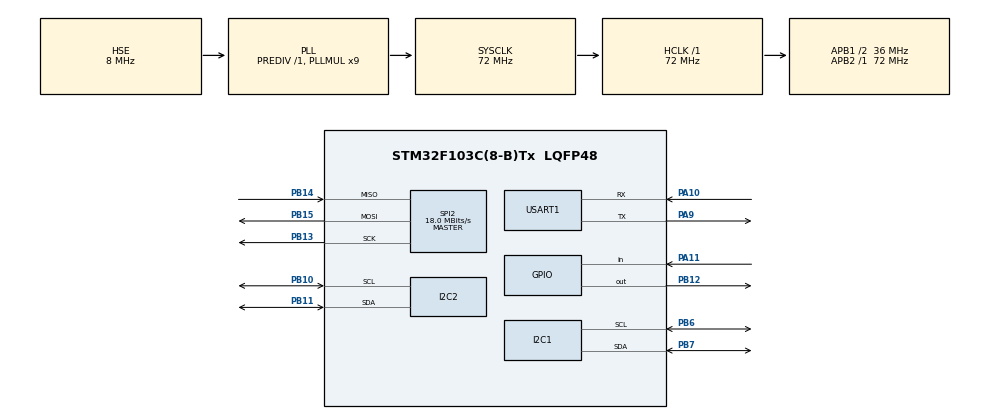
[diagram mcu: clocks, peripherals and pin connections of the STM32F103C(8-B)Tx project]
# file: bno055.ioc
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FATFS._MAX_SS=4096
FATFS._USE_LFN=1
Mcu.Family=STM32F1
Mcu.Name=STM32F103C(8-B)Tx
Mcu.Package=LQFP48
NVIC.PriorityGroup=NVIC_PRIORITYGROUP_4
PA10.Mode=Asynchronous
PA10.Signal=USART1_RX
PA11.Signal=GPIO_Input
PA9.Mode=Asynchronous
PA9.Signal=USART1_TX
PB10.Mode=I2C
PB10.Signal=I2C2_SCL
PB11.Mode=I2C
PB11.Signal=I2C2_SDA
PB12.Signal=GPIO_Output
PB13.Mode=Full_Duplex_Master
PB13.Signal=SPI2_SCK
PB14.Mode=Full_Duplex_Master
PB14.Signal=SPI2_MISO
PB15.Mode=Full_Duplex_Master
PB15.Signal=SPI2_MOSI
PB6.Mode=I2C
PB6.Signal=I2C1_SCL
PB7.Mode=I2C
PB7.Signal=I2C1_SDA
PD0-OSC_IN.Mode=HSE-External-Oscillator
PD0-OSC_IN.Signal=RCC_OSC_IN
PD1-OSC_OUT.Mode=HSE-External-Oscillator
PD1-OSC_OUT.Signal=RCC_OSC_OUT
ProjectManager.HeapSize=0x200
ProjectManager.StackSize=0x400
ProjectManager.TargetToolchain=STM32CubeIDE
RCC.AHBFreq_Value=72000000
RCC.APB1CLKDivider=RCC_HCLK_DIV2
RCC.APB1Freq_Value=36000000
RCC.APB1TimFreq_Value=72000000
RCC.APB2Freq_Value=72000000
RCC.APB2TimFreq_Value=72000000
RCC.HCLKFreq_Value=72000000
RCC.PLLMUL=RCC_PLL_MUL9
RCC.PLLSourceVirtual=RCC_PLLSOURCE_HSE
RCC.SYSCLKFreq_VALUE=72000000
RCC.SYSCLKSource=RCC_SYSCLKSOURCE_PLLCLK
RCC.USBFreq_Value=72000000
SPI2.CalculateBaudRate=18.0 MBits/s
SPI2.Direction=SPI_DIRECTION_2LINES
SPI2.Mode=SPI_MODE_MASTER
SPI2.VirtualType=VM_MASTER
USART1.VirtualMode=VM_ASYNC
VP_FATFS_VS_Generic.Mode=User_defined
board=custom

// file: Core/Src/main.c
/* USER CODE BEGIN Header */
/**
  ******************************************************************************
  * @file           : main.c
  * @brief          : Main program body
  ******************************************************************************
  * @attention
  *
  * Copyright (c) 2023 STMicroelectronics.
  * All rights reserved.
  *
  * This software is licensed under terms that can be found in the LICENSE file
  * in the root directory of this software component.
  * If no LICENSE file comes with this software, it is provided AS-IS.
  *
  * LIBRARY REPO SOURCE: https://github.com/ivyknob/bno055_stm32
  *
  ******************************************************************************
  */
/* USER CODE END Header */
#include "main.h"
#include "fatfs.h"

/* USER CODE BEGIN Includes */
#include "bno055_stm32.h"
#include <stdio.h>
#include <string.h>
#include <math.h>
/* USER CODE END Includes */

I2C_HandleTypeDef hi2c1;
I2C_HandleTypeDef hi2c2;

SPI_HandleTypeDef hspi2;

UART_HandleTypeDef huart1;

/* USER CODE BEGIN PV */
FATFS fs;
FIL fil;

/* USER CODE END PV */

void SystemClock_Config(void);
static void MX_GPIO_Init(void);
static void MX_I2C1_Init(void);
static void MX_USART1_UART_Init(void);
static void MX_SPI2_Init(void);
static void MX_I2C2_Init(void);

int main(void)
{
  /* USER CODE BEGIN 1 */
	uint8_t message1[966] = {'\0'};
	uint8_t message2[966] = {'\0'};
	uint8_t message3[966] = {'\0'};
	uint8_t message4[966] = {'\0'};
	char string[966] = {'\0'};

  /* USER CODE END 1 */

  /* MCU Configuration--------------------------------------------------------*/

  /* Reset of all peripherals, Initializes the Flash interface and the Systick. */
  HAL_Init();

  /* Configure the system clock */
  SystemClock_Config();

  /* Initialize all configured peripherals */
  MX_GPIO_Init();
  MX_I2C1_Init();
  MX_USART1_UART_Init();
  MX_SPI2_Init();
  MX_FATFS_Init();
  MX_I2C2_Init();
  /* USER CODE BEGIN 2 */
  bno055_assignI2C(&hi2c1);
  bno055_setup();
  bno055_setOperationModeNDOF();

  // Initial Calibration
  /*
  HAL_Delay(100);

  //Currently all cal states are 0...
  bno055_calibration_data_t calData = bno055_getCalibrationData();
  bno055_setCalibrationData(calData);

  while (1) { // Check if calibration is complete

      calState = bno055_getCalibrationState();
	  sprintf((char*)message1,"%.2d,%.2d,%.2d,%.2d\r\n", calState.sys, calState.gyro, calState.mag, calState.accel);
	  HAL_UART_Transmit(&huart1, message1, sizeof(message1), 100);

      if (calState.sys == 3 && calState.gyro == 3 && calState.accel == 3 && calState.mag == 3) {
          // Calibration is complete
          HAL_UART_Transmit(&huart1, (uint8_t *)"Calibration complete!\r\n", 30, HAL_MAX_DELAY);
          break;  // Exit calibration loop
      }
  }

  bno055_setOperationModeNDOF(); // set in work mode again
  */

  // Initializing a new origin based on object's current location
  HAL_Delay(100);
  bno055_vector_t offset = bno055_getVectorQuaternion();
  bno055_vector_t offset_conj = quaternion_conjugate(offset);
  bno055_vector_t offset_norm = quaternion_normalize(offset_conj);

  /* USER CODE END 2 */

  /* Infinite loop */
  /* USER CODE BEGIN WHILE */
  while (1)
  {
      if(HAL_GPIO_ReadPin (GPIOA, GPIO_PIN_11)){

          HAL_Delay(500); // Delay for button debouncing

          offset = bno055_getVectorQuaternion();
          offset_conj = quaternion_conjugate(offset);
          offset_norm = quaternion_normalize(offset_conj);
      }

	  bno055_vector_t v = quaternion_multiply(offset_norm, bno055_getVectorQuaternion());
	  //v = quaternion_to_euler(v);
	  //sprintf((char*)message2,"pitch = %.2f\r\n", v.x);
	  sprintf((char*)message2,"%.2f,%.2f,%.2f,%.2f\r\n", v.w, v.x, v.y, v.z);
	  HAL_UART_Transmit(&huart1, message2, sizeof(message2), 100);

      /*bno055_vector_t v = bno055_getVectorLinearAccel();
	  sprintf((char*)message3, "%.2f %.2f %.2f\r\n", v.x, v.y, v.z);
	  HAL_UART_Transmit(&huart1, message3, sizeof(message3), 100);*/

	  /*bno055_vector_t v = bno055_getVectorGyroscope();
	  sprintf((char*)message4, "%.2f %.2f %.2f\r\n", v.x, v.y, v.z);
	  HAL_UART_Transmit(&huart1, message4, sizeof(message4), 100);*/

	  HAL_Delay(100);

	  /*
	  // Saving quaternions to microSD card
	  sprintf(string,"W: %.2f X: %.2f Y: %.2f Z: %.2f\n", v.w, v.x, v.y, v.z);
	  f_mount(&fs, "", 0);
	  f_open(&fil, "bno055.txt", FA_OPEN_ALWAYS | FA_WRITE | FA_READ);
	  f_lseek(&fil, fil.fsize);
	  f_puts(string, &fil);
	  f_close(&fil);
	  */

    /* USER CODE END WHILE */

  }
}

void SystemClock_Config(void)
{
  RCC_OscInitTypeDef RCC_OscInitStruct = {0};
  RCC_ClkInitTypeDef RCC_ClkInitStruct = {0};

  /** Initializes the RCC Oscillators according to the specified parameters
  * in the RCC_OscInitTypeDef structure.
  */
  RCC_OscInitStruct.OscillatorType = RCC_OSCILLATORTYPE_HSE;
  RCC_OscInitStruct.HSEState = RCC_HSE_ON;
  RCC_OscInitStruct.HSEPredivValue = RCC_HSE_PREDIV_DIV1;
  RCC_OscInitStruct.HSIState = RCC_HSI_ON;
  RCC_OscInitStruct.PLL.PLLState = RCC_PLL_ON;
  RCC_OscInitStruct.PLL.PLLSource = RCC_PLLSOURCE_HSE;
  RCC_OscInitStruct.PLL.PLLMUL = RCC_PLL_MUL9;
  if (HAL_RCC_OscConfig(&RCC_OscInitStruct) != HAL_OK)
  {
    Error_Handler();
  }

  /** Initializes the CPU, AHB and APB buses clocks
  */
  RCC_ClkInitStruct.ClockType = RCC_CLOCKTYPE_HCLK|RCC_CLOCKTYPE_SYSCLK
                              |RCC_CLOCKTYPE_PCLK1|RCC_CLOCKTYPE_PCLK2;
  RCC_ClkInitStruct.SYSCLKSource = RCC_SYSCLKSOURCE_PLLCLK;
  RCC_ClkInitStruct.AHBCLKDivider = RCC_SYSCLK_DIV1;
  RCC_ClkInitStruct.APB1CLKDivider = RCC_HCLK_DIV2;
  RCC_ClkInitStruct.APB2CLKDivider = RCC_HCLK_DIV1;

  if (HAL_RCC_ClockConfig(&RCC_ClkInitStruct, FLASH_LATENCY_2) != HAL_OK)
  {
    Error_Handler();
  }
}

static void MX_I2C1_Init(void)
{

  hi2c1.Instance = I2C1;
  hi2c1.Init.ClockSpeed = 100000;
  hi2c1.Init.DutyCycle = I2C_DUTYCYCLE_2;
  hi2c1.Init.OwnAddress1 = 0;
  hi2c1.Init.AddressingMode = I2C_ADDRESSINGMODE_7BIT;
  hi2c1.Init.DualAddressMode = I2C_DUALADDRESS_DISABLE;
  hi2c1.Init.OwnAddress2 = 0;
  hi2c1.Init.GeneralCallMode = I2C_GENERALCALL_DISABLE;
  hi2c1.Init.NoStretchMode = I2C_NOSTRETCH_DISABLE;
  if (HAL_I2C_Init(&hi2c1) != HAL_OK)
  {
    Error_Handler();
  }

}

static void MX_I2C2_Init(void)
{

  hi2c2.Instance = I2C2;
  hi2c2.Init.ClockSpeed = 100000;
  hi2c2.Init.DutyCycle = I2C_DUTYCYCLE_2;
  hi2c2.Init.OwnAddress1 = 0;
  hi2c2.Init.AddressingMode = I2C_ADDRESSINGMODE_7BIT;
  hi2c2.Init.DualAddressMode = I2C_DUALADDRESS_DISABLE;
  hi2c2.Init.OwnAddress2 = 0;
  hi2c2.Init.GeneralCallMode = I2C_GENERALCALL_DISABLE;
  hi2c2.Init.NoStretchMode = I2C_NOSTRETCH_DISABLE;
  if (HAL_I2C_Init(&hi2c2) != HAL_OK)
  {
    Error_Handler();
  }

}

static void MX_SPI2_Init(void)
{

  /* SPI2 parameter configuration*/
  hspi2.Instance = SPI2;
  hspi2.Init.Mode = SPI_MODE_MASTER;
  hspi2.Init.Direction = SPI_DIRECTION_2LINES;
  hspi2.Init.DataSize = SPI_DATASIZE_8BIT;
  hspi2.Init.CLKPolarity = SPI_POLARITY_LOW;
  hspi2.Init.CLKPhase = SPI_PHASE_1EDGE;
  hspi2.Init.NSS = SPI_NSS_SOFT;
  hspi2.Init.BaudRatePrescaler = SPI_BAUDRATEPRESCALER_2;
  hspi2.Init.FirstBit = SPI_FIRSTBIT_MSB;
  hspi2.Init.TIMode = SPI_TIMODE_DISABLE;
  hspi2.Init.CRCCalculation = SPI_CRCCALCULATION_DISABLE;
  hspi2.Init.CRCPolynomial = 10;
  if (HAL_SPI_Init(&hspi2) != HAL_OK)
  {
    Error_Handler();
  }

}

static void MX_USART1_UART_Init(void)
{

  huart1.Instance = USART1;
  huart1.Init.BaudRate = 115200;
  huart1.Init.WordLength = UART_WORDLENGTH_8B;
  huart1.Init.StopBits = UART_STOPBITS_1;
  huart1.Init.Parity = UART_PARITY_NONE;
  huart1.Init.Mode = UART_MODE_TX_RX;
  huart1.Init.HwFlowCtl = UART_HWCONTROL_NONE;
  huart1.Init.OverSampling = UART_OVERSAMPLING_16;
  if (HAL_UART_Init(&huart1) != HAL_OK)
  {
    Error_Handler();
  }

}

static void MX_GPIO_Init(void)
{
  GPIO_InitTypeDef GPIO_InitStruct = {0};

  /* GPIO Ports Clock Enable */
  __HAL_RCC_GPIOD_CLK_ENABLE();
  __HAL_RCC_GPIOB_CLK_ENABLE();
  __HAL_RCC_GPIOA_CLK_ENABLE();

  /*Configure GPIO pin Output Level */
  HAL_GPIO_WritePin(GPIOB, GPIO_PIN_12, GPIO_PIN_RESET);

  /*Configure GPIO pin : PB12 */
  GPIO_InitStruct.Pin = GPIO_PIN_12;
  GPIO_InitStruct.Mode = GPIO_MODE_OUTPUT_PP;
  GPIO_InitStruct.Pull = GPIO_NOPULL;
  GPIO_InitStruct.Speed = GPIO_SPEED_FREQ_LOW;
  HAL_GPIO_Init(GPIOB, &GPIO_InitStruct);

  /*Configure GPIO pin : PA11 */
  GPIO_InitStruct.Pin = GPIO_PIN_11;
  GPIO_InitStruct.Mode = GPIO_MODE_INPUT;
  GPIO_InitStruct.Pull = GPIO_NOPULL;
  HAL_GPIO_Init(GPIOA, &GPIO_InitStruct);

}

void Error_Handler(void)
{
  __disable_irq();
  while (1)
  {
  }
}
